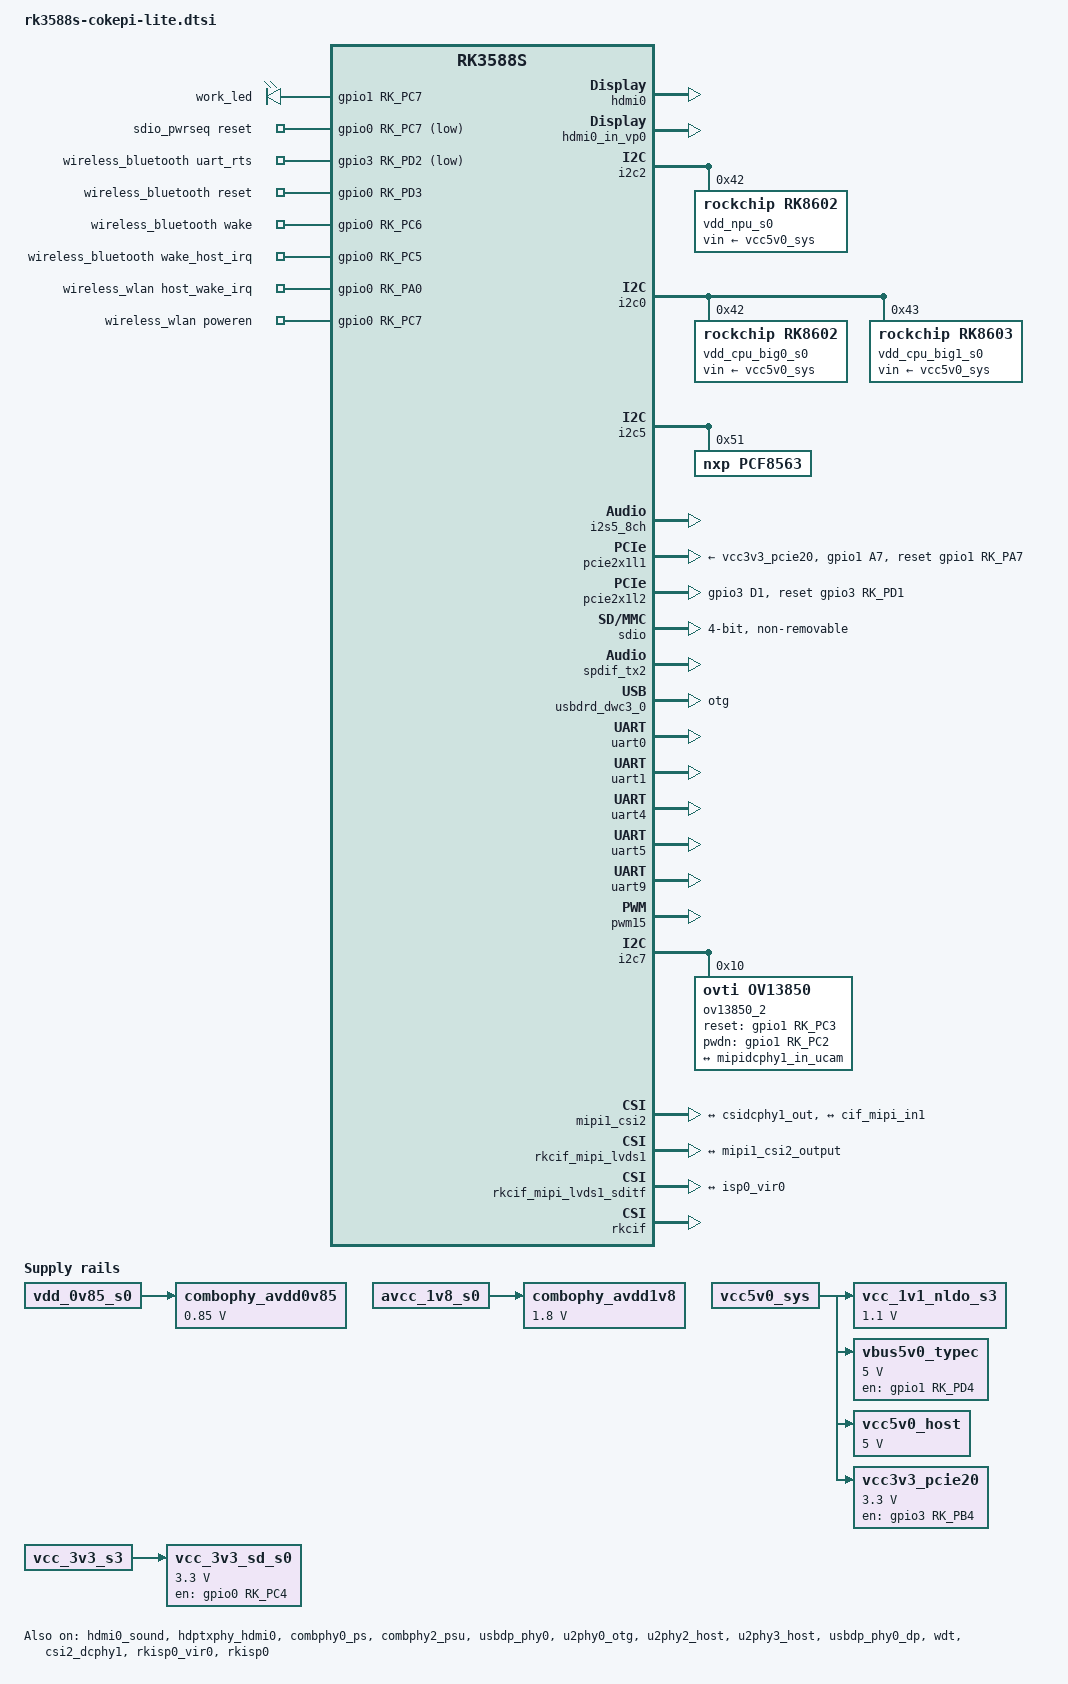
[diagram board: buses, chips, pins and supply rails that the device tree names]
// SPDX-License-Identifier: (GPL-2.0+ OR MIT)
/*
 * Copyright (c) 2021 Rockchip Electronics Co., Ltd.
 *
 */

#include "dt-bindings/usb/pd.h"
#include "rk3588s.dtsi"
#include "rk3588s-cokepi.dtsi"
#include "rk3588-rk806-single.dtsi"

#if 1
#define TYPEC0_USB2_ADB /* define it for 2.0 adb */
#endif

/ {
	rk_keys: rockchip-keys {
		status = "disabled";
		compatible = "rockchip,keys";
	};

	leds: leds {
		compatible = "gpio-leds";
		work_led: work {
			gpios = <&gpio1 RK_PC7 GPIO_ACTIVE_HIGH>;
			linux,default-trigger = "heartbeat";
		};
	};

	combophy_avdd0v85: combophy-avdd0v85 {
		compatible = "regulator-fixed";
		regulator-name = "combophy_avdd0v85";
		regulator-boot-on;
		regulator-always-on;
		regulator-min-microvolt = <850000>;
		regulator-max-microvolt = <850000>;
		vin-supply = <&vdd_0v85_s0>;
	};

	combophy_avdd1v8: combophy-avdd1v8 {
		compatible = "regulator-fixed";
		regulator-name = "combophy_avdd1v8";
		regulator-boot-on;
		regulator-always-on;
		regulator-min-microvolt = <1800000>;
		regulator-max-microvolt = <1800000>;
		vin-supply = <&avcc_1v8_s0>;
	};

	rk_headset: rk-headset {
		status = "disabled";
		compatible = "rockchip_headset";
		io-channels = <&saradc 3>;
	};

	vcc_1v1_nldo_s3: vcc-1v1-nldo-s3 {
		compatible = "regulator-fixed";
		regulator-name = "vcc_1v1_nldo_s3";
		regulator-always-on;
		regulator-boot-on;
		regulator-min-microvolt = <1100000>;
		regulator-max-microvolt = <1100000>;
		vin-supply = <&vcc5v0_sys>;
	};

	vbus5v0_typec: vbus5v0-typec {
		compatible = "regulator-fixed";
		regulator-name = "vbus5v0_typec";
		regulator-min-microvolt = <5000000>;
		regulator-max-microvolt = <5000000>;
		enable-active-high;
		gpio = <&gpio1 RK_PD4 GPIO_ACTIVE_HIGH>;
		vin-supply = <&vcc5v0_sys>;
		pinctrl-names = "default";
		pinctrl-0 = <&typec5v_pwren>;
	};

	vcc5v0_host: vcc5v0-host {
		compatible = "regulator-fixed";
		regulator-name = "vcc5v0_host";
		regulator-boot-on;
		regulator-always-on;
		regulator-min-microvolt = <5000000>;
		regulator-max-microvolt = <5000000>;
		vin-supply = <&vcc5v0_sys>;
	};

	vcc_3v3_sd_s0: vcc-3v3-sd-s0-regulator {
		compatible = "regulator-fixed";
		gpio = <&gpio0 RK_PC4 GPIO_ACTIVE_HIGH>;
		pinctrl-names = "default";
		pinctrl-0 = <&sd_s0_pwr>;
		regulator-name = "vcc_3v3_sd_s0";
		regulator-min-microvolt = <3300000>;
		regulator-max-microvolt = <3300000>;
		startup-delay-us = <100000>;
		enable-active-high;
		regulator-boot-on;
		vin-supply = <&vcc_3v3_s3>;
	};

	sdio_pwrseq: sdio-pwrseq {
		compatible = "mmc-pwrseq-simple";
		clocks = <&xin32k>; /*pcf8563*/
		clock-names = "ext_clock";
		pinctrl-names = "default";
		pinctrl-0 = <&wifi_enable_h>;
		/*
		 * On the module itself this is one of these (depending
		 * on the actual card populated):
		 * - SDIO_RESET_L_WL_REG_ON
		 * - PDN (power down when low)
		 */
		post-power-on-delay-ms = <200>;
		reset-gpios = <&gpio0 RK_PC7 GPIO_ACTIVE_LOW>;
	};

	wireless_bluetooth: wireless-bluetooth {
		compatible = "bluetooth-platdata";
		clocks = <&xin32k>; /*pcf8563*/
		clock-names = "ext_clock";
		uart_rts_gpios = <&gpio3 RK_PD2 GPIO_ACTIVE_LOW>;
		pinctrl-names = "default", "rts_gpio";
		pinctrl-0 = <&uart9m2_rtsn>, <&bt_reset_gpio>, <&bt_wake_gpio>, <&bt_irq_gpio>;
		pinctrl-1 = <&uart9_gpios>;
		BT,reset_gpio    = <&gpio0 RK_PD3 GPIO_ACTIVE_HIGH>;
		BT,wake_gpio     = <&gpio0 RK_PC6 GPIO_ACTIVE_HIGH>;
		BT,wake_host_irq = <&gpio0 RK_PC5 GPIO_ACTIVE_HIGH>;
		status = "okay";
	};

	wireless_wlan: wireless-wlan {
		compatible = "wlan-platdata";
		wifi_chip_type = "ap6212";
		pinctrl-names = "default";
		pinctrl-0 = <&wifi_host_wake_irq>;
		WIFI,host_wake_irq = <&gpio0 RK_PA0 GPIO_ACTIVE_HIGH>;
		WIFI,poweren_gpio = <&gpio0 RK_PC7 GPIO_ACTIVE_HIGH>;
		status = "okay";
	};

	vcc3v3_pcie20: vcc3v3-pcie20 {
		compatible = "regulator-fixed";
		regulator-name = "vcc3v3_pcie20";
		regulator-min-microvolt = <3300000>;
		regulator-max-microvolt = <3300000>;
		enable-active-high;
		gpios = <&gpio3 RK_PB4 GPIO_ACTIVE_HIGH>;
		startup-delay-us = <5000>;
		vin-supply = <&vcc5v0_sys>;
	};
};

&dp0 {
	status = "disabled";
};

/*
 * mipi_dcphy0 needs to be enabled
 * when dsi0 is enabled
 */
&dsi0 {
	status = "disabled";
};

/*
 * mipi_dcphy1 needs to be enabled
 * when dsi1 is enabled
 */
&dsi1 {
	status = "disabled";
};

&dsi1_in_vp2 {
	status = "disabled";
};

&dsi1_in_vp3 {
	status = "disabled";
};

&gmac1 {
	status = "disabled";
};

&hdmi0 {
	enable-gpios = <&gpio3 RK_PD0 GPIO_ACTIVE_HIGH>;
	status = "okay";
	pinctrl-names = "default";
	pinctrl-0 = <&hdmim0_tx0_hpd &hdmim0_tx0_scl &hdmim0_tx0_sda>;
};

&hdmi0_in_vp0 {
	status = "okay";
};

&hdmi0_sound {
	status = "okay";
};

&hdptxphy_hdmi0 {
	status = "okay";
};

&i2c2 {
	status = "okay";
	pinctrl-names = "default";
	pinctrl-0 = <&i2c2m0_xfer>;

	vdd_npu_s0: vdd_npu_mem_s0: rk8602@42 {
		compatible = "rockchip,rk8602";
		reg = <0x42>;
		vin-supply = <&vcc5v0_sys>;
		regulator-compatible = "rk860x-reg";
		regulator-name = "vdd_npu_s0";
		regulator-min-microvolt = <550000>;
		regulator-max-microvolt = <950000>;
		regulator-ramp-delay = <2300>;
		rockchip,suspend-voltage-selector = <1>;
		regulator-boot-on;
		regulator-always-on;
		regulator-state-mem {
			regulator-off-in-suspend;
		};
	};
};

&i2c0 {
	status = "okay";
	pinctrl-names = "default";
	pinctrl-0 = <&i2c0m2_xfer>;

	vdd_cpu_big0_s0: vdd_cpu_big0_mem_s0: rk8602@42 {
		compatible = "rockchip,rk8602";
		reg = <0x42>;
		vin-supply = <&vcc5v0_sys>;
		regulator-compatible = "rk860x-reg";
		regulator-name = "vdd_cpu_big0_s0";
		regulator-min-microvolt = <550000>;
		regulator-max-microvolt = <1050000>;
		regulator-ramp-delay = <2300>;
		rockchip,suspend-voltage-selector = <1>;
		regulator-boot-on;
		regulator-always-on;
		regulator-state-mem {
			regulator-off-in-suspend;
		};
	};

	vdd_cpu_big1_s0: vdd_cpu_big1_mem_s0: rk8603@43 {
		compatible = "rockchip,rk8603";
		reg = <0x43>;
		vin-supply = <&vcc5v0_sys>;
		regulator-compatible = "rk860x-reg";
		regulator-name = "vdd_cpu_big1_s0";
		regulator-min-microvolt = <550000>;
		regulator-max-microvolt = <1050000>;
		regulator-ramp-delay = <2300>;
		rockchip,suspend-voltage-selector = <1>;
		regulator-boot-on;
		regulator-always-on;
		regulator-state-mem {
			regulator-off-in-suspend;
		};
	};
};

&i2c5 {
	status = "okay";
	pinctrl-names = "default";
	pinctrl-0 = <&i2c5m2_xfer>;

	pcf8563: pcf8563@51 {
		compatible = "nxp,pcf8563";
		reg = <0x51>;
		status = "okay";
		/*
		#clock-cells = <0>;
		clock-frequency = <32768>;
		clock-output-names = "pcf8563";
		*/
	};
};

&i2s0_8ch {
	status = "disabled";
};

&i2s5_8ch {
	status = "okay";
};

&mipi_dcphy0 {
	status = "disabled";
};

&mipi_dcphy1 {
	status = "disabled";
};

&combphy0_ps {
	status = "okay";
};

&combphy2_psu {
	status = "okay";
};

/* pcie2x1l1 -> combphy2_psu and enable if card mounted
 */
&pcie2x1l1 {
	status = "okay";
	reset-gpios = <&gpio1 RK_PA7 GPIO_ACTIVE_HIGH>;
	vpcie3v3-supply = <&vcc3v3_pcie20>;
	pinctrl-names = "default";
	pinctrl-0 = <&pcie20_rst>;
};

/* pcie2x1l2 -> combphy0_ps
 */
&pcie2x1l2 {
	reset-gpios = <&gpio3 RK_PD1 GPIO_ACTIVE_HIGH>;
	pinctrl-names = "default";
	pinctrl-0 = <&rtl8111_resetb>;
	status = "okay";
};

&pinctrl {
	mipi {
		dsi0_lcd_en: dsi0-lcd-en {
			rockchip,pins = <1 RK_PA4 RK_FUNC_GPIO &pcfg_pull_none>;
		};

		dsi0_lcd_rst: dsi0-lcd-rst {
			rockchip,pins = <3 RK_PC1 RK_FUNC_GPIO &pcfg_pull_none>;
		};
	};

	dp-hdmi {
		dp0_hpd: dp0-hpd {
			rockchip,pins = <1 RK_PB0 RK_FUNC_GPIO &pcfg_pull_none>;
		};
	};

	rtl8111 {
		rtl8111_resetb: rtl8111-resetb {
			rockchip,pins = <3 RK_PD1 RK_FUNC_GPIO &pcfg_pull_up>;
		};
	};

	usb-typec {
		typec5v_pwren: typec5v-pwren {
			rockchip,pins = <1 RK_PD4 RK_FUNC_GPIO &pcfg_pull_none>;
		};
	};

	sdio-pwrseq {
		wifi_enable_h: wifi-enable-h {
			rockchip,pins = <0 RK_PC7 RK_FUNC_GPIO &pcfg_pull_up>;
		};
	};

	sdmmc-ctrl {
		sd_s0_pwr: sd-s0-pwr {
			rockchip,pins = <0 RK_PC4 RK_FUNC_GPIO &pcfg_pull_up>;
		};
	};

	wireless-bluetooth {
		uart9_gpios: uart9-gpios {
			rockchip,pins = <3 RK_PD2 RK_FUNC_GPIO &pcfg_pull_none>;
		};

		bt_reset_gpio: bt-reset-gpio {
			rockchip,pins = <0 RK_PD3 RK_FUNC_GPIO &pcfg_pull_none>;
		};

		bt_wake_gpio: bt-wake-gpio {
			rockchip,pins = <0 RK_PC6 RK_FUNC_GPIO &pcfg_pull_none>;
		};

		bt_irq_gpio: bt-irq-gpio {
			rockchip,pins = <0 RK_PC5 RK_FUNC_GPIO &pcfg_pull_down>;
		};
	};

	wireless-wlan {
		wifi_host_wake_irq: wifi-host-wake-irq {
			rockchip,pins = <0 RK_PA0 RK_FUNC_GPIO &pcfg_pull_down>;
		};
	};

	power-hold {
		hold_gpio: hold-gpio {
			rockchip,pins = <0 RK_PB2 RK_FUNC_GPIO &pcfg_pull_none>;
		};
	};

	pcie20 {
		pcie20_rst: pcie20-rst {
			rockchip,pins = <1 RK_PA7 RK_FUNC_GPIO &pcfg_pull_none>;
		};
	};
};

&sdio {
	max-frequency = <150000000>;
	no-sd;
	no-mmc;
	bus-width = <4>;
	disable-wp;
	cap-sd-highspeed;
	cap-sdio-irq;
	keep-power-in-suspend;
	mmc-pwrseq = <&sdio_pwrseq>;
	non-removable;
	pinctrl-names = "default";
	pinctrl-0 = <&sdiom1_pins>;
	//sd-uhs-sdr104;
	status = "okay";
};

&spdif_tx2 {
	status = "okay";
};

&usbdp_phy0 {
	rockchip,dp-lane-mux = <2 3>;
	status = "okay";
};

&u2phy0_otg {
	status = "okay";
	phy-supply = <&vbus5v0_typec>;
};

&u2phy2_host {
	status = "okay";
	phy-supply = <&vcc5v0_host>;
};

&u2phy3_host {
	status = "okay";
	phy-supply = <&vcc5v0_host>;
};

&usbdrd_dwc3_0 {
#ifdef TYPEC0_USB2_ADB
	dr_mode = "otg";
#else
	dr_mode = "host";
#endif
	extcon = <&u2phy0>;
	status = "okay";
};

&usbhost3_0 {
	status = "disabled";
};

&usbhost_dwc3_0 {
	status = "disabled";
};

&usbdp_phy0_dp {
	status = "okay";
};

&uart0 {
	status = "okay";
	pinctrl-names = "default";
	pinctrl-0 = <&uart0m2_xfer>;
};

&uart1 {
	status = "okay";
	//status = "disabled";
	pinctrl-names = "default";
	pinctrl-0 = <&uart1m1_xfer>;
};

&uart2 {
	//status = "okay";
	status = "disabled";
	pinctrl-names = "default";
	pinctrl-0 = <&uart2m0_xfer>;
};

&uart4 {
	status = "okay";
	pinctrl-names = "default";
	pinctrl-0 = <&uart4m0_xfer>;
};

&uart5 {
	status = "okay";
	pinctrl-names = "default";
	pinctrl-0 = <&uart5m1_xfer>;
};

&uart9 {
	status = "okay";
	pinctrl-names = "default";
	pinctrl-0 = <&uart9m2_xfer &uart9m2_ctsn>;
};

&can1 {
	assigned-clocks = <&cru CLK_CAN1>;
	assigned-clock-rates = <200000000>;
	pinctrl-names = "default";
	pinctrl-0 = <&can1m1_pins>;
	status = "disabled";
};

/* FIXME: it might cause suspicious halt?
 */
&wdt {
	status = "okay";
};

/* IR should use pwm15
 */
&pwm15 {
	compatible = "rockchip,remotectl-pwm";
	pinctrl-names = "default";
	pinctrl-0 = <&pwm15m3_pins>;
	remote_pwm_id = <15>;
	handle_cpu_id = <1>;
	remote_support_psci = <0>;
	status = "okay";

	ir_key1 {
		rockchip,usercode = <0x4040>;
		rockchip,key_table =
			<0xB2 KEY_PAUSE>,
			<0xF0 KEY_MUTE>,
			<0xFF KEY_0>,
			<0xFE KEY_1>,
			<0xFD KEY_2>,
			<0xFC KEY_3>,
			<0xFB KEY_4>,
			<0xFA KEY_5>,
			<0xF9 KEY_6>,
			<0xF8 KEY_7>,
			<0xF7 KEY_8>,
			<0xF6 KEY_9>,
			<0xBA KEY_BACKSPACE>,
			<0xEC KEY_TAB>,
			<0xEA KEY_VOLUMEUP>,
			<0xE3 KEY_VOLUMEDOWN>,
			<0xE1 KEY_PAGEUP>,
			<0xE0 KEY_PAGEDOWN>,
			<0xBC KEY_F5>,
 			<0xE8 KEY_F6>,
 			<0xE5 KEY_HOME>,
 			<0xBD KEY_ESC>,
 			<0xE2 KEY_F7>,
 			<0xB8 KEY_F8>,
 			<0xF4 KEY_UP>,
 			<0xF1 KEY_DOWN>,
 			<0xEF KEY_LEFT>,
 			<0xEE KEY_RIGHT>,
 			<0xF2 KEY_ENTER>,
 			<0xE9 KEY_B>,
 			<0xB0 KEY_F>,
 			<0xBE KEY_P>,
 			<0xE6 KEY_N>,
 			<0xE7 KEY_A>,
 			<0xB5 KEY_S>,
 			<0xB9 KEY_P>,
 			<0xED KEY_E>,
 			<0xE4 KEY_F9>,
 			<0xEB KEY_F10>,
 			<0x03 KEY_F11>,
 			<0xBB KEY_F12>,
 			<0xAC KEY_F1>,
 			<0xA4 KEY_F2>,
 			<0xA8 KEY_F3>,
 			<0xAB KEY_F4>;
	};

	ir_key2 {
		rockchip,usercode = <0x7F80>;
		rockchip,key_table =
			<0xED KEY_PAUSE>,
			<0xE1 KEY_HOME>,
			<0xFD KEY_UP>,
			<0xF7 KEY_DOWN>,
			<0xFB KEY_LEFT>,
			<0xF9 KEY_RIGHT>,
			<0xFA KEY_ENTER>,
			<0xF5 KEY_F8>,
			<0xE0 KEY_ESC>;
	};
};

/* ---- MIPI CSI2 camera support start ----
 */

#define HW_DCPHY1_CSI2_DCPHY1 (1) /* HWv1-J18 */
#define HW_DPHY1_CSI2_DPHY0   (0) /* HWv1-J17 */
#define HW_DPHY0_CSI2_DCPHY0  (0) /* HWv1-J16 */

#if (HW_DCPHY1_CSI2_DCPHY1 == 1)
/* hw: dcphy1 -> sw: csi2_dcphy1 4-lane mode
 */
&i2c7 {
	status = "okay";
	pinctrl-names = "default";
	pinctrl-0 = <&i2c7m0_xfer>;

	ov13850_2: ov13850_2@10 {
		compatible = "ovti,ov13850";
		status = "okay";
		reg = <0x10>;
		clocks = <&cru CLK_MIPI_CAMARAOUT_M3>;
		clock-names = "xvclk";
		power-domains = <&power RK3588_PD_VI>;
		pinctrl-names = "default";
		pinctrl-0 = <&mipim1_camera3_clk>;
		rockchip,grf = <&sys_grf>;
		reset-gpios = <&gpio1 RK_PC3 GPIO_ACTIVE_HIGH>;
		pwdn-gpios = <&gpio1 RK_PC2 GPIO_ACTIVE_HIGH>;
		rockchip,camera-module-index = <0>;
		rockchip,camera-module-facing = "back";
		rockchip,camera-module-name = "CMK-OT2016-FV1";
		rockchip,camera-module-lens-name = "default";
		port {
			ov13850_2_out: endpoint {
				remote-endpoint = <&mipidcphy1_in_ucam>;
				data-lanes = <1 2 3 4>;
			};
		};
	};
};

&csi2_dcphy1 {
	status = "okay";

	ports {
		#address-cells = <1>;
		#size-cells = <0>;
		port@0 {
			reg = <0>;
			#address-cells = <1>;
			#size-cells = <0>;

			mipidcphy1_in_ucam: endpoint@1 {
				reg = <1>;
				remote-endpoint = <&ov13850_2_out>;
				data-lanes = <1 2 3 4>;
			};
		};
		port@1 {
			reg = <1>;
			#address-cells = <1>;
			#size-cells = <0>;

			csidcphy1_out: endpoint@0 {
				reg = <0>;
				remote-endpoint = <&mipi1_csi2_input>;
			};
		};
	};
};

&mipi1_csi2 {
	status = "okay";

	ports {
		#address-cells = <1>;
		#size-cells = <0>;

		port@0 {
			reg = <0>;
			#address-cells = <1>;
			#size-cells = <0>;

			mipi1_csi2_input: endpoint@1 {
				reg = <1>;
				remote-endpoint = <&csidcphy1_out>;
			};
		};

		port@1 {
			reg = <1>;
			#address-cells = <1>;
			#size-cells = <0>;

			mipi1_csi2_output: endpoint@0 {
				reg = <0>;
				remote-endpoint = <&cif_mipi_in1>;
			};
		};
	};
};

&rkcif_mipi_lvds1 {
	status = "okay";

	port {
		cif_mipi_in1: endpoint {
			remote-endpoint = <&mipi1_csi2_output>;
		};
	};
};

&rkcif_mipi_lvds1_sditf {
	status = "okay";

	port {
		mipi_lvds1_sditf: endpoint {
			remote-endpoint = <&isp0_vir0>;
		};
	};
};

&rkisp0_vir0 {
	status = "okay";

	port {
		#address-cells = <1>;
		#size-cells = <0>;

		isp0_vir0: endpoint@0 {
			reg = <0>;
			remote-endpoint = <&mipi_lvds1_sditf>;
		};
	};
};
#endif

&rkcif {
	status = "okay";
};

&rkcif_mmu {
	status = "okay";
};

&rkisp0 {
	status = "okay";
};

&isp0_mmu {
	status = "okay";
};

#if (HW_DPHY1_CSI2_DPHY0 == 1)
/* hw: dphy1-[0|1] + dphy1-[2|3] -> sw: csi2_dphy0 full mode (csi2_dphy1+csi2_dphy2)
 */
&i2c8 {
	status = "okay";
	pinctrl-names = "default";
	pinctrl-0 = <&i2c8m4_xfer>;

	ov13850_0: ov13850_0@10 {
		compatible = "ovti,ov13850";
		status = "okay";
		reg = <0x10>;
		clocks = <&cru CLK_MIPI_CAMARAOUT_M1>;
		clock-names = "xvclk";
		power-domains = <&power RK3588_PD_VI>;
		pinctrl-names = "default";
		pinctrl-0 = <&mipim1_camera1_clk>;
		rockchip,grf = <&sys_grf>;
		reset-gpios = <&gpio3 RK_PB7 GPIO_ACTIVE_HIGH>;
		pwdn-gpios = <&gpio3 RK_PC0 GPIO_ACTIVE_HIGH>;
		rockchip,camera-module-index = <0>;
		rockchip,camera-module-facing = "back";
		rockchip,camera-module-name = "CMK-OT2016-FV1";
		rockchip,camera-module-lens-name = "default";
		port {
			ov13850_0_out: endpoint {
				remote-endpoint = <&mipidphy0_in_ucam>;
				data-lanes = <1 2 3 4>;
			};
		};
	};
};

&csi2_dphy0_hw {
	status = "okay";
};

&csi2_dphy1_hw {
	status = "okay";
};

&csi2_dphy0 {
	status = "okay";

	ports {
		#address-cells = <1>;
		#size-cells = <0>;
		port@0 {
			reg = <0>;
			#address-cells = <1>;
			#size-cells = <0>;

			mipidphy0_in_ucam: endpoint@1 {
				reg = <1>;
				remote-endpoint = <&ov13850_0_out>;
				data-lanes = <1 2 3 4>;
			};
		};
		port@1 {
			reg = <1>;
			#address-cells = <1>;
			#size-cells = <0>;

			csidphy0_out: endpoint@0 {
				reg = <0>;
				remote-endpoint = <&mipi2_csi2_input>;
			};
		};
	};
};

&mipi2_csi2 {
	status = "okay";

	ports {
		#address-cells = <1>;
		#size-cells = <0>;

		port@0 {
			reg = <0>;
			#address-cells = <1>;
			#size-cells = <0>;

			mipi2_csi2_input: endpoint@1 {
				reg = <1>;
				remote-endpoint = <&csidphy0_out>;
			};
		};

		port@1 {
			reg = <1>;
			#address-cells = <1>;
			#size-cells = <0>;

			mipi2_csi2_output: endpoint@0 {
				reg = <0>;
				remote-endpoint = <&cif_mipi2_in0>;
			};
		};
	};
};

&rkcif_mipi_lvds2 {
	status = "okay";

	port {
		cif_mipi2_in0: endpoint {
			remote-endpoint = <&mipi2_csi2_output>;
		};
	};
};

&rkcif_mipi_lvds2_sditf {
	status = "okay";

	port {
		mipi_lvds2_sditf: endpoint {
			remote-endpoint = <&isp0_vir0>;
		};
	};
};

&rkisp0_vir0 {
	status = "okay";

	port {
		#address-cells = <1>;
		#size-cells = <0>;

		isp0_vir0: endpoint@0 {
			reg = <0>;
			remote-endpoint = <&mipi_lvds2_sditf>;
		};
	};
};
#endif

#if (HW_DPHY0_CSI2_DCPHY0 == 1)
/* hw: dphy0-[0|1] + dphy0-[2|3] -> sw: csi2_dcphy0 full mode
 */
&i2c8 {
	status = "okay";
	pinctrl-names = "default";
	pinctrl-0 = <&i2c8m4_xfer>;

	ov13850_1: ov13850_1@10 {
		compatible = "ovti,ov13850";
		status = "okay";
		reg = <0x10>;
		clocks = <&cru CLK_MIPI_CAMARAOUT_M2>;
		clock-names = "xvclk";
		power-domains = <&power RK3588_PD_VI>;
		pinctrl-names = "default";
		pinctrl-0 = <&mipim1_camera2_clk>;
		rockchip,grf = <&sys_grf>;
		reset-gpios = <&gpio1 RK_PC5 GPIO_ACTIVE_HIGH>;
		pwdn-gpios = <&gpio1 RK_PC6 GPIO_ACTIVE_HIGH>;
		rockchip,camera-module-index = <0>;
		rockchip,camera-module-facing = "back";
		rockchip,camera-module-name = "CMK-OT2016-FV1";
		rockchip,camera-module-lens-name = "default";
		port {
			ov13850_1_out: endpoint {
				remote-endpoint = <&mipidcphy0_in_ucam>;
				data-lanes = <1 2 3 4>;
			};
		};
	};
};

&csi2_dphy0_hw {
	status = "okay";
};

&csi2_dcphy0 {
	status = "okay";

	ports {
		#address-cells = <1>;
		#size-cells = <0>;
		port@0 {
			reg = <0>;
			#address-cells = <1>;
			#size-cells = <0>;

			mipidcphy0_in_ucam: endpoint@1 {
				reg = <1>;
				remote-endpoint = <&ov13850_1_out>;
				data-lanes = <1 2 3 4>;
			};
		};
		port@1 {
			reg = <1>;
			#address-cells = <1>;
			#size-cells = <0>;

			csidcphy0_out: endpoint@0 {
				reg = <0>;
				remote-endpoint = <&mipi0_csi2_input>;
			};
		};
	};
};

&mipi0_csi2 {
	status = "okay";

	ports {
		#address-cells = <1>;
		#size-cells = <0>;

		port@0 {
			reg = <0>;
			#address-cells = <1>;
			#size-cells = <0>;

			mipi0_csi2_input: endpoint@1 {
				reg = <1>;
				remote-endpoint = <&csidcphy0_out>;
			};
		};

		port@1 {
			reg = <1>;
			#address-cells = <1>;
			#size-cells = <0>;

			mipi0_csi2_output: endpoint@0 {
				reg = <0>;
				remote-endpoint = <&cif_mipi_in0>;
			};
		};
	};
};

&rkcif_mipi_lvds {
	status = "okay";

	port {
		cif_mipi_in0: endpoint {
			remote-endpoint = <&mipi0_csi2_output>;
		};
	};
};

&rkcif_mipi_lvds_sditf {
	status = "okay";

	port {
		mipi_lvds_sditf: endpoint {
			remote-endpoint = <&isp0_vir0>;
		};
	};
};

&rkisp0_vir0 {
	status = "okay";

	port {
		#address-cells = <1>;
		#size-cells = <0>;

		isp0_vir0: endpoint@0 {
			reg = <0>;
			remote-endpoint = <&mipi_lvds_sditf>;
		};
	};
};
#endif
